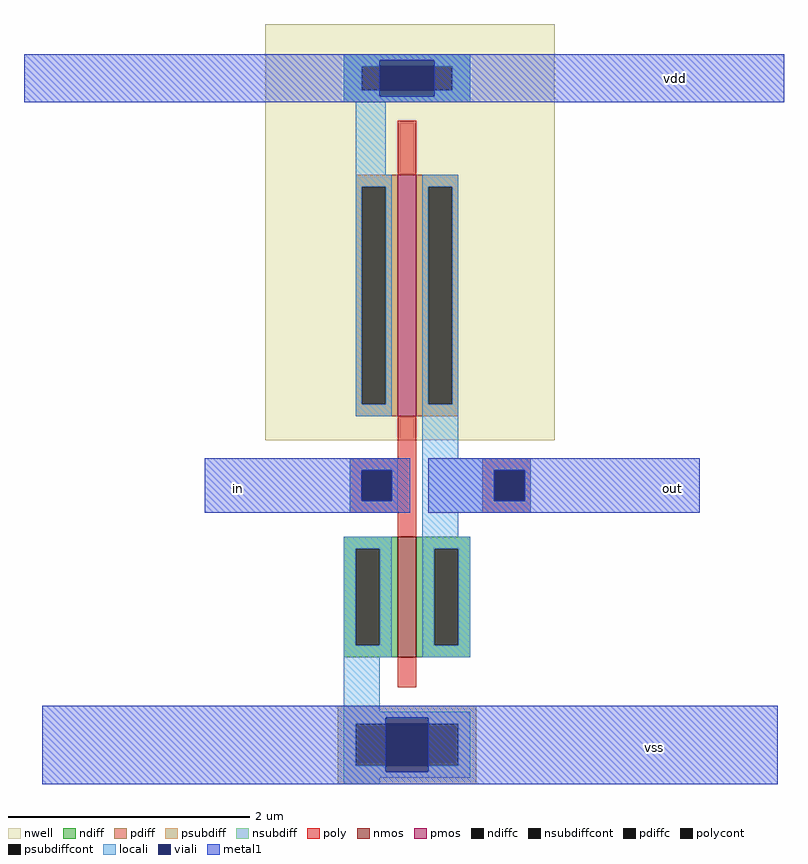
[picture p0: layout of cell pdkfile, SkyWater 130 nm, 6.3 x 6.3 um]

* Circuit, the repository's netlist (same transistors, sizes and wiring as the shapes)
* NGSPICE file created from pdkfile.ext - technology: sky130A

.subckt pdkfile
X0 out in vss vss sky130_fd_pr__nfet_01v8 ad=0.45 pd=2.9 as=0.45 ps=2.9 w=1 l=0.15
**devattr s=18000,580 d=18000,580
X1 out in vdd vdd sky130_fd_pr__pfet_01v8 ad=0.7 pd=4.7 as=0.7 ps=4.7 w=2 l=0.15
**devattr s=28000,940 d=28000,940
.ends

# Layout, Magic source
magic
tech sky130A
<< nwell >>
rect -120 -120 120 225
<< nmos >>
rect -10 -300 5 -200
<< pmos >>
rect -10 -100 5 100
<< ndiff >>
rect -55 -210 -10 -200
rect -55 -290 -45 -210
rect -25 -290 -10 -210
rect -55 -300 -10 -290
rect 5 -210 50 -200
rect 5 -290 20 -210
rect 40 -290 50 -210
rect 5 -300 50 -290
<< pdiff >>
rect -45 90 -10 100
rect -45 -90 -40 90
rect -20 -90 -10 90
rect -45 -100 -10 -90
rect 5 90 40 100
rect 5 -90 15 90
rect 35 -90 40 90
rect 5 -100 40 -90
<< ndiffc >>
rect -45 -290 -25 -210
rect 20 -290 40 -210
<< pdiffc >>
rect -40 -90 -20 90
rect 15 -90 35 90
<< psubdiff >>
rect -60 -355 55 -340
rect -60 -390 -45 -355
rect 40 -390 55 -355
rect -60 -405 55 -390
<< nsubdiff >>
rect -55 190 50 200
rect -55 170 -40 190
rect 35 170 50 190
rect -55 160 50 170
<< psubdiffcont >>
rect -45 -390 40 -355
<< nsubdiffcont >>
rect -40 170 35 190
<< poly >>
rect -10 100 5 145
rect -10 -135 5 -100
rect -50 -145 5 -135
rect -50 -170 -40 -145
rect -15 -170 5 -145
rect -50 -180 5 -170
rect 60 -145 100 -135
rect 60 -170 70 -145
rect 95 -170 100 -145
rect 60 -180 100 -170
rect -10 -200 5 -180
rect -10 -325 5 -300
<< polycont >>
rect -40 -170 -15 -145
rect 70 -170 95 -145
<< locali >>
rect -55 195 50 200
rect -55 190 -25 195
rect 20 190 50 195
rect -55 170 -40 190
rect 35 170 50 190
rect -55 165 -25 170
rect 20 165 50 170
rect -55 160 50 165
rect -45 100 -20 160
rect -45 90 -15 100
rect -45 -90 -40 90
rect -20 -90 -15 90
rect -45 -100 -15 -90
rect 10 90 40 100
rect 10 -90 15 90
rect 35 -90 40 90
rect 10 -135 40 -90
rect -50 -145 -10 -135
rect -50 -170 -40 -145
rect -15 -170 -10 -145
rect -50 -180 -10 -170
rect 10 -145 100 -135
rect 10 -170 70 -145
rect 95 -170 100 -145
rect 10 -180 100 -170
rect 10 -200 40 -180
rect -55 -210 -15 -200
rect -55 -290 -45 -210
rect -25 -290 -15 -210
rect -55 -300 -15 -290
rect 10 -210 50 -200
rect 10 -290 20 -210
rect 40 -290 50 -210
rect 10 -300 50 -290
rect -55 -345 -25 -300
rect -55 -350 50 -345
rect -55 -355 -20 -350
rect 15 -355 50 -350
rect -55 -390 -45 -355
rect 40 -390 50 -355
rect -55 -395 -20 -390
rect 15 -395 50 -390
rect -55 -400 50 -395
rect -55 -405 -25 -400
<< viali >>
rect -25 190 20 195
rect -25 170 20 190
rect -25 165 20 170
rect -40 -170 -15 -145
rect 70 -170 95 -145
rect -20 -355 15 -350
rect -20 -390 15 -355
rect -20 -395 15 -390
<< metal1 >>
rect -320 195 310 200
rect -320 165 -25 195
rect 20 165 310 195
rect -320 160 310 165
rect -170 -145 0 -135
rect -170 -170 -40 -145
rect -15 -170 0 -145
rect -170 -180 0 -170
rect 15 -145 240 -135
rect 15 -170 70 -145
rect 95 -170 240 -145
rect 15 -180 240 -170
rect -305 -350 305 -340
rect -305 -395 -20 -350
rect 15 -395 305 -350
rect -305 -405 305 -395
<< labels >>
rlabel metal1 220 180 220 180 1 vdd
rlabel metal1 215 -160 220 -160 1 out
rlabel metal1 -145 -160 -140 -160 1 in
rlabel metal1 200 -375 205 -375 1 vss
<< end >>
